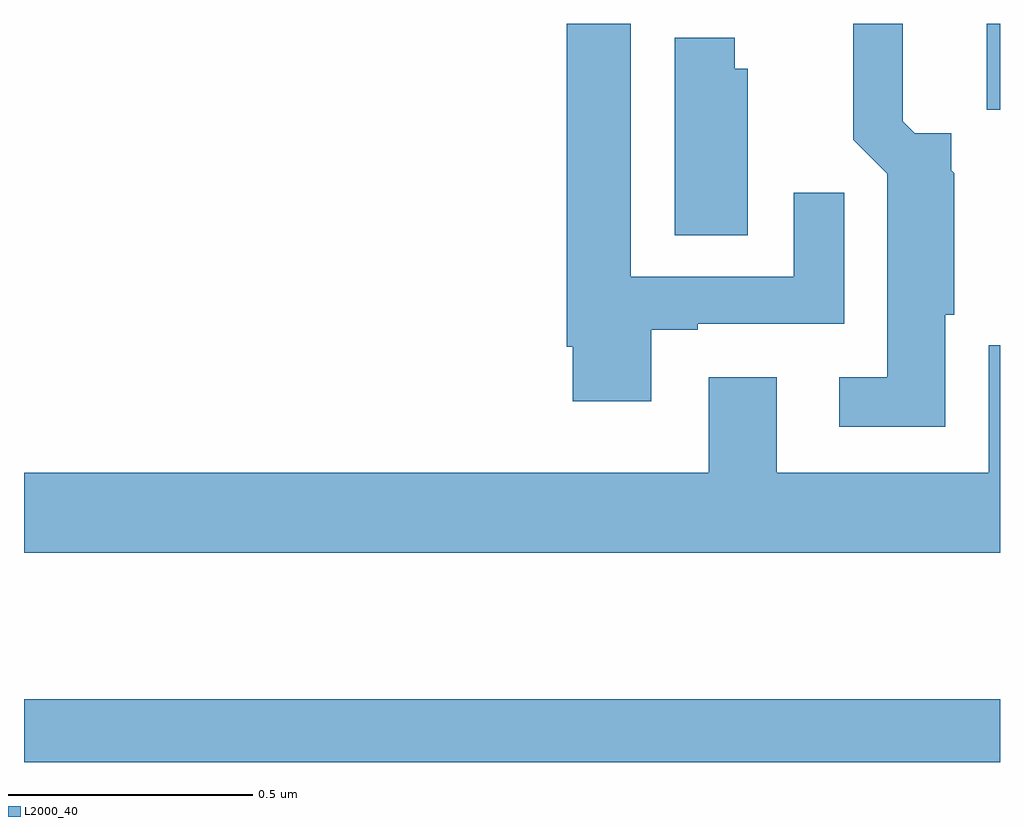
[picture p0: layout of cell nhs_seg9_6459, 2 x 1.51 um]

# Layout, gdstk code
import gdstk
lib = gdstk.Library(unit=1e-6, precision=1e-09)
def R(c, l, rs):  # rectangles x0, y0, x1, y1
    for r in rs: c.add(gdstk.rectangle(r[:2], r[2:], *l))
def P(c, l, *ps):  # polygons
    for p in ps: c.add(gdstk.Polygon(p, *l))
L2000_40 = (2000, 40)

nhs_seg9_6459 = lib.new_cell('nhs_seg9_6459')
R(nhs_seg9_6459, L2000_40, [(192,1199.986,194,1200.115), (193.973,1201.323,194,1201.5)])
P(nhs_seg9_6459, L2000_40, [(193.285,1200.873),(193.381,1200.873),(193.381,1200.885),(193.681,1200.885),(193.681,1201.153),(193.577,1201.153),(193.577,1200.981),(193.243,1200.981),(193.243,1201.5),(193.112,1201.5),(193.112,1200.838),(193.124,1200.838),(193.124,1200.726),(193.285,1200.726)],
  [(193.888,1200.903),(193.906,1200.903),(193.906,1201.193),(193.9,1201.199),(193.9,1201.275),(193.825,1201.275),(193.801,1201.3),(193.801,1201.5),(193.699,1201.5),(193.699,1201.262),(193.769,1201.192),(193.769,1200.775),(193.671,1200.775),(193.671,1200.674),(193.888,1200.674)],
  [(193.483,1201.407),(193.456,1201.407),(193.456,1201.471),(193.334,1201.471),(193.334,1201.066),(193.483,1201.066)],
  [(194,1200.841),(193.977,1200.841),(193.977,1200.58),(193.543,1200.58),(193.543,1200.775),(193.403,1200.775),(193.403,1200.58),(192,1200.58),(192,1200.416),(194,1200.416)])

lib.write_gds('nhs_seg9_6459.gds')
